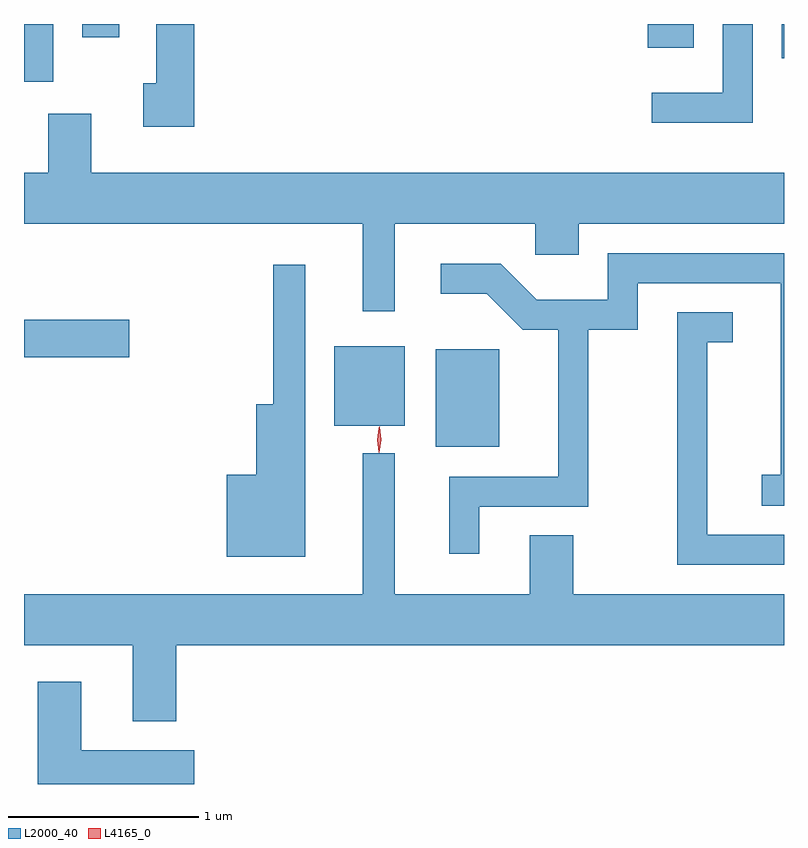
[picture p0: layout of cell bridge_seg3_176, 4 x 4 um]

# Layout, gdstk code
import gdstk
lib = gdstk.Library(unit=1e-6, precision=1e-09)
def R(c, l, rs):  # rectangles x0, y0, x1, y1
    for r in rs: c.add(gdstk.rectangle(r[:2], r[2:], *l))
def P(c, l, *ps):  # polygons
    for p in ps: c.add(gdstk.Polygon(p, *l))
L2000_40 = (2000, 40)
L4165_0 = (4165, 0)

bridge_seg3_176 = lib.new_cell('bridge_seg3_176')
R(bridge_seg3_176, L2000_40, [(889.426,1124.841,889.759,1125.354), (888.891,1124.951,889.264,1125.369), (887.259,1125.311,887.814,1125.509), (887.259,1126.761,887.414,1127.066), (891.246,1126.886,891.259,1127.066), (890.541,1126.941,890.784,1127.066), (887.566,1126.996,887.759,1127.066)])
P(bridge_seg3_176, L2000_40, [(891.094,1127.066),(890.936,1127.066),(890.936,1126.704),(890.563,1126.704),(890.563,1126.546),(891.094,1126.546)],
  [(888.154,1127.066),(887.956,1127.066),(887.956,1126.754),(887.886,1126.754),(887.886,1126.526),(888.154,1126.526)],
  [(889.209,1126.016),(889.951,1126.016),(889.951,1125.851),(890.179,1125.851),(890.179,1126.016),(891.259,1126.016),(891.259,1126.284),(887.614,1126.284),(887.614,1126.594),(887.386,1126.594),(887.386,1126.284),(887.259,1126.284),(887.259,1126.016),(889.041,1126.016),(889.041,1125.553),(889.209,1125.553)],
  [(889.654,1124.526),(890.229,1124.526),(890.229,1125.456),(890.489,1125.456),(890.489,1125.701),(891.241,1125.701),(891.241,1124.694),(891.143,1124.694),(891.143,1124.531),(891.259,1124.531),(891.259,1125.859),(890.331,1125.859),(890.331,1125.614),(889.957,1125.614),(889.767,1125.804),(889.453,1125.804),(889.453,1125.646),(889.694,1125.646),(889.884,1125.456),(890.071,1125.456),(890.071,1124.684),(889.496,1124.684),(889.496,1124.278),(889.654,1124.278)],
  [(888.739,1125.798),(888.571,1125.798),(888.571,1125.064),(888.481,1125.064),(888.481,1124.694),(888.326,1124.694),(888.326,1124.261),(888.739,1124.261)],
  [(891.259,1124.379),(890.854,1124.379),(890.854,1125.391),(890.988,1125.391),(890.988,1125.549),(890.696,1125.549),(890.696,1124.221),(891.259,1124.221)],
  [(888.059,1123.796),(891.259,1123.796),(891.259,1124.064),(890.149,1124.064),(890.149,1124.374),(889.921,1124.374),(889.921,1124.064),(889.209,1124.064),(889.209,1124.808),(889.041,1124.808),(889.041,1124.064),(887.259,1124.064),(887.259,1123.796),(887.831,1123.796),(887.831,1123.396),(888.059,1123.396)],
  [(888.154,1123.244),(887.559,1123.244),(887.559,1123.604),(887.331,1123.604),(887.331,1123.066),(888.154,1123.066)])
P(bridge_seg3_176, L4165_0, [(889.126,1124.813),(889.117,1124.877),(889.126,1124.941),(889.127,1124.942),(889.128,1124.941),(889.137,1124.877),(889.128,1124.813),(889.127,1124.813)],
  [(889.129,1124.81),(889.12,1124.878),(889.13,1124.946),(889.13,1124.946),(889.131,1124.946),(889.14,1124.878),(889.13,1124.81),(889.13,1124.81)])

lib.write_gds('bridge_seg3_176.gds')
